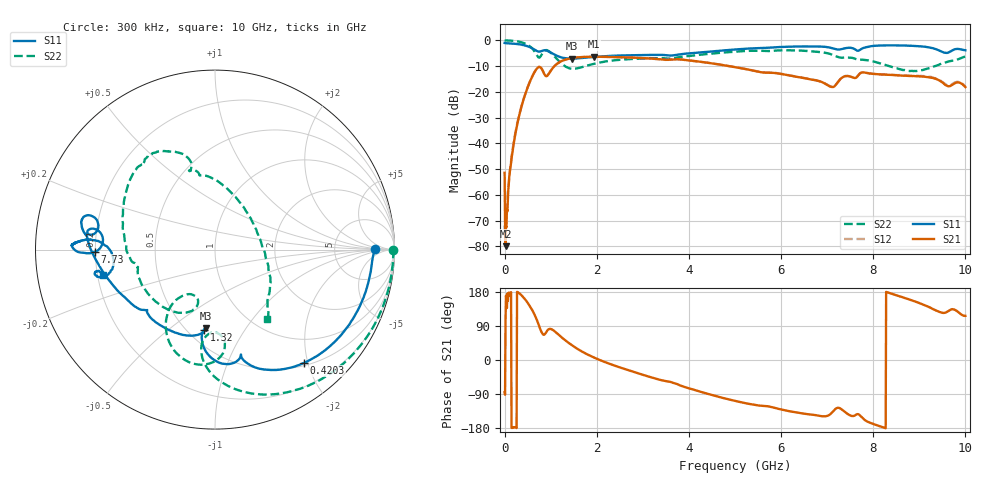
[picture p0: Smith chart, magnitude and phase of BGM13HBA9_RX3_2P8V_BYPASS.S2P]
!Agilent Technologies,E5071C,MY46316587,B.13.01
!Date: Thu Dec 07 13:31:11 2017
!Data & Calibration Information:
!Freq	S11:SOLT2(ON)	S21:SOLT2(ON)	S12:SOLT2(ON)	S22:SOLT2(ON)
!PortZ  Port1:50+j0  Port2:50+j0
!Above PortZ is port z conversion or system Z0 setting when saving the data.
!When reading, reference impedance value at option line is always used.
# Hz S dB R 50
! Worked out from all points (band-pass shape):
!   1001 points, 300 kHz to 10 GHz, reference 50 ohm
!   highest |S21| = -6.37 dB at 1.94 GHz (marker M1); lowest = -79.9 dB at 20.3 MHz (marker M2)
!   |S21| within 3 dB of the highest: 1.121 GHz to 4.652 GHz (3.531 GHz wide, 122 % of centre)
!   lowest |S11| = -7.1 dB at 1.46 GHz (marker M3), VSWR 2.58, Z = 31 - j33.8 ohm
!   |S11| at or under -10 dB: nowhere
!   |S22| runs from -12.0 to -0.1 dB; largest |S21 - S12| = 0.0066
!   S11 on the Smith chart (normalised r, x): 300 kHz: 17, +0; 420.3 MHz: 0.55, -1.94; 1.32 GHz: 0.60, -0.67; 7.73 GHz: 0.20, -0.01; 10 GHz: 0.22, -0.10
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300000  -1.02 0.0  -51.41 -84.8  -71.83 -178.0  -0.06 0.0
2.02994e7  -1.11 -2.9  -79.88 104.0  -76.14 127.4  -0.06 -3.1
6.02982e7  -1.15 -7.9  -66.44 175.1  -61.06 153.7  -0.06 -9.3
1.302961e8  -1.20 -16.6  -48.92 178.4  -48.46 -179.6  -0.12 -20.0
1.902943e8  -1.28 -24.1  -40.91 -178.3  -40.36 -176.8  -0.20 -29.2
4.202874e8  -1.90 -51.8  -22.43 163.5  -22.27 163.4  -1.08 -64.7
6.00282e8  -3.10 -70.5  -14.03 131.7  -13.94 131.5  -3.18 -91.5
7.102787e8  -4.21 -76.2  -10.77 102.7  -10.72 102.6  -6.05 -96.9
9.102727e8  -3.97 -87.2  -13.92 74.8  -13.83 74.7  -3.79 -101.1
1.050268e9  -5.25 -96.6  -10.65 79.0  -10.61 78.9  -5.64 -121.6
1.32026e9  -6.94 -97.9  -7.48 51.6  -7.47 51.6  -10.14 -124.7
1.460256e9  -7.10 -96.8  -6.88 39.0  -6.87 39.1  -11.04 -116.5
1.67025e9  -6.87 -96.9  -6.50 22.9  -6.47 23.2  -10.45 -108.2
1.940242e9  -6.43 -99.9  -6.37 6.5  -6.39 6.7  -9.13 -109.1
3.3402e9  -5.63 -131.6  -7.30 -51.3  -7.35 -51.2  -6.91 -158.0
5.00015e9  -3.56 -174.5  -10.41 -107.8  -10.38 -107.8  -4.40 143.6
6.6701e9  -2.38 167.2  -15.29 -144.3  -15.20 -144.2  -4.30 116.0
7.110087e9  -3.06 164.9  -18.12 -138.2  -18.05 -138.3  -5.59 106.0
7.730068e9  -3.49 -178.9  -12.66 -148.5  -12.62 -148.5  -7.50 101.3
8.34005e9  -1.95 178.5  -13.39 177.2  -13.36 177.2  -9.98 69.7
8.960031e9  -2.22 177.0  -13.93 152.3  -13.80 150.8  -11.84 13.6
1e10  -3.86 -167.4  -18.15 116.3  -17.94 116.6  -6.29 -53.0
